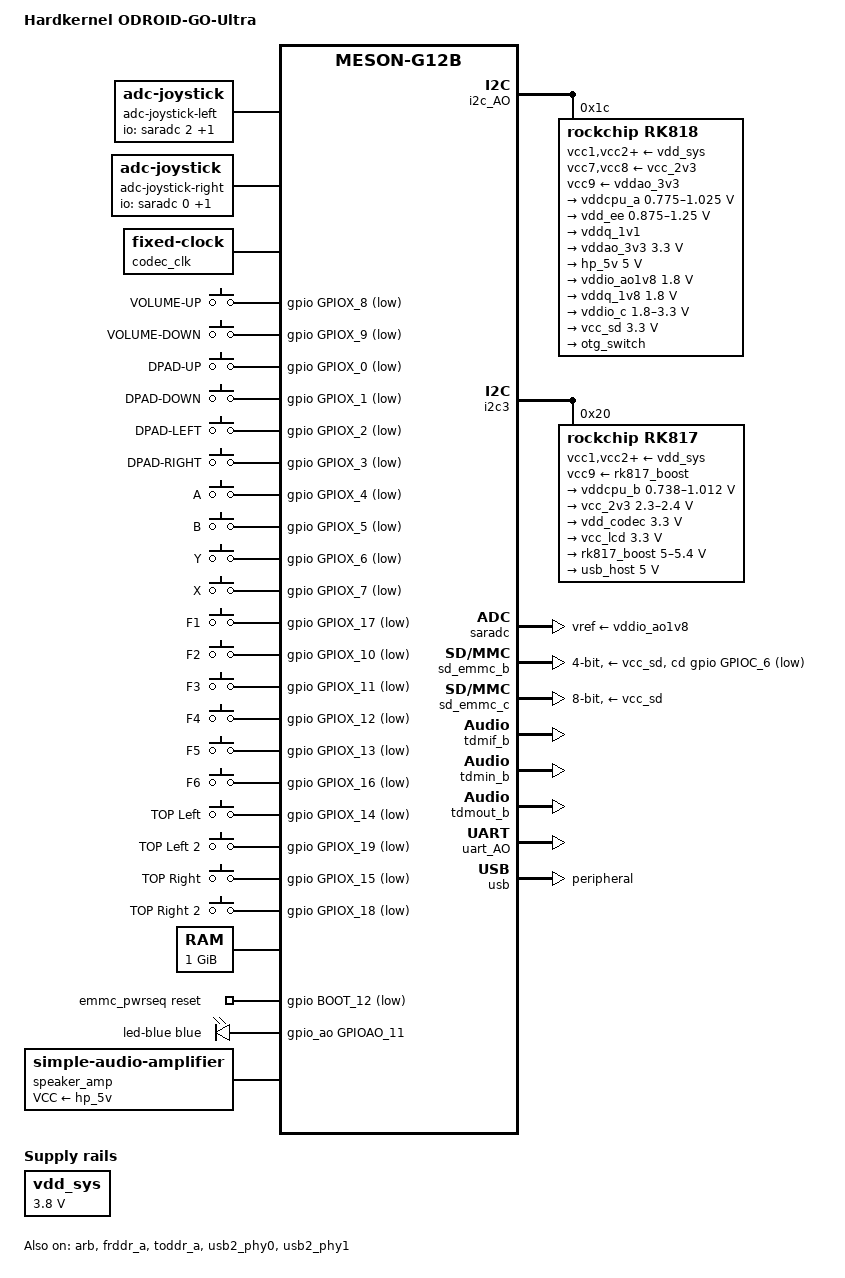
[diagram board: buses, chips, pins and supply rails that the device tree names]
// SPDX-License-Identifier: (GPL-2.0+ OR MIT)
/*
 * Copyright (c) 2022 Neil Armstrong <neil.armstrong@linaro.org>
 */

/dts-v1/;

#include "meson-g12b-s922x.dtsi"
#include <dt-bindings/input/input.h>
#include <dt-bindings/leds/common.h>
#include <dt-bindings/gpio/meson-g12a-gpio.h>
#include <dt-bindings/sound/meson-g12a-toacodec.h>
#include <dt-bindings/sound/meson-g12a-tohdmitx.h>

/ {
	compatible = "hardkernel,odroid-go-ultra", "amlogic,s922x", "amlogic,g12b";
	model = "Hardkernel ODROID-GO-Ultra";

	aliases {
		serial0 = &uart_AO;
		rtc0 = &vrtc;
	};

	adc-joystick-left {
		compatible = "adc-joystick";
		io-channels = <&saradc 2>, <&saradc 3>;
		poll-interval = <10>;
		#address-cells = <1>;
		#size-cells = <0>;

		axis@0 {
			reg = <0>;
			linux,code = <ABS_Y>;
			abs-range = <3150 950>;
			abs-fuzz = <32>;
			abs-flat = <64>;
		};
		axis@1 {
			reg = <1>;
			linux,code = <ABS_X>;
			abs-range = <700 2900>;
			abs-fuzz = <32>;
			abs-flat = <64>;
		};
	};

	adc-joystick-right {
		compatible = "adc-joystick";
		io-channels = <&saradc 0>, <&saradc 1>;
		poll-interval = <10>;
		#address-cells = <1>;
		#size-cells = <0>;

		axis@0 {
			reg = <0>;
			linux,code = <ABS_RY>;
			abs-range = <3150 950>;
			abs-fuzz = <32>;
			abs-flat = <64>;
		};
		axis@1 {
			reg = <1>;
			linux,code = <ABS_RX>;
			abs-range = <800 3000>;
			abs-fuzz = <32>;
			abs-flat = <64>;
		};
	};

	chosen {
		stdout-path = "serial0:115200n8";
	};

	codec_clk: codec-clk {
		compatible = "fixed-clock";
		clock-frequency = <12288000>;
		clock-output-names = "codec_clk";
		#clock-cells = <0>;
	};

	gpio-keys {
		compatible = "gpio-keys-polled";
		poll-interval = <10>;
		pinctrl-0 = <&keypad_gpio_pins>;
		pinctrl-names = "default";

		volume-up-button {
			label = "VOLUME-UP";
			linux,code = <KEY_VOLUMEUP>;
			gpios = <&gpio GPIOX_8 GPIO_ACTIVE_LOW>;
		};
		volume-down-button {
			label = "VOLUME-DOWN";
			linux,code = <KEY_VOLUMEDOWN>;
			gpios = <&gpio GPIOX_9 GPIO_ACTIVE_LOW>;
		};
		dpad-up-button {
			label = "DPAD-UP";
			linux,code = <BTN_DPAD_UP>;
			gpios = <&gpio GPIOX_0 GPIO_ACTIVE_LOW>;
		};
		dpad-down-button {
			label = "DPAD-DOWN";
			linux,code = <BTN_DPAD_DOWN>;
			gpios = <&gpio GPIOX_1 GPIO_ACTIVE_LOW>;
		};
		dpad-left-button {
			label = "DPAD-LEFT";
			linux,code = <BTN_DPAD_LEFT>;
			gpios = <&gpio GPIOX_2 GPIO_ACTIVE_LOW>;
		};
		dpad-right-button {
			label = "DPAD-RIGHT";
			linux,code = <BTN_DPAD_RIGHT>;
			gpios = <&gpio GPIOX_3 GPIO_ACTIVE_LOW>;
		};
		a-button {
			label = "A";
			linux,code = <BTN_EAST>;
			gpios = <&gpio GPIOX_4 GPIO_ACTIVE_LOW>;
		};
		b-button {
			label = "B";
			linux,code = <BTN_SOUTH>;
			gpios = <&gpio GPIOX_5 GPIO_ACTIVE_LOW>;
		};
		y-button {
			label = "Y";
			linux,code = <BTN_WEST>;
			gpios = <&gpio GPIOX_6 GPIO_ACTIVE_LOW>;
		};
		x-button {
			label = "X";
			linux,code = <BTN_NORTH>;
			gpios = <&gpio GPIOX_7 GPIO_ACTIVE_LOW>;
		};
		f1-button {
			label = "F1";
			linux,code = <BTN_TRIGGER_HAPPY1>;
			gpios = <&gpio GPIOX_17 GPIO_ACTIVE_LOW>;
		};
		f2-button {
			label = "F2";
			linux,code = <BTN_TRIGGER_HAPPY2>;
			gpios = <&gpio GPIOX_10 GPIO_ACTIVE_LOW>;
		};
		f3-button {
			label = "F3";
			linux,code = <BTN_TRIGGER_HAPPY3>;
			gpios = <&gpio GPIOX_11 GPIO_ACTIVE_LOW>;
		};
		f4-button {
			label = "F4";
			linux,code = <BTN_TRIGGER_HAPPY4>;
			gpios = <&gpio GPIOX_12 GPIO_ACTIVE_LOW>;
		};
		f5-button {
			label = "F5";
			linux,code = <BTN_TRIGGER_HAPPY5>;
			gpios = <&gpio GPIOX_13 GPIO_ACTIVE_LOW>;
		};
		f6-button {
			label = "F6";
			linux,code = <BTN_TRIGGER_HAPPY6>;
			gpios = <&gpio GPIOX_16 GPIO_ACTIVE_LOW>;
		};
		top-left-button {
			label = "TOP Left";
			linux,code = <BTN_TL>;
			gpios = <&gpio GPIOX_14 GPIO_ACTIVE_LOW>;
		};
		top-left2-button {
			label = "TOP Left 2";
			linux,code = <BTN_TL2>;
			gpios = <&gpio GPIOX_19 GPIO_ACTIVE_LOW>;
		};
		top-right-button {
			label = "TOP Right";
			linux,code = <BTN_TR>;
			gpios = <&gpio GPIOX_15 GPIO_ACTIVE_LOW>;
		};
		top-right2-button {
			label = "TOP Right 2";
			linux,code = <BTN_TR2>;
			gpios = <&gpio GPIOX_18 GPIO_ACTIVE_LOW>;
		};
	};

	memory@0 {
		device_type = "memory";
		reg = <0x0 0x0 0x0 0x40000000>;
	};

	emmc_pwrseq: emmc-pwrseq {
		compatible = "mmc-pwrseq-emmc";
		reset-gpios = <&gpio BOOT_12 GPIO_ACTIVE_LOW>;
	};

	leds {
		compatible = "gpio-leds";

		led-blue {
			color = <LED_COLOR_ID_BLUE>;
			gpios = <&gpio_ao GPIOAO_11 GPIO_ACTIVE_HIGH>;
			linux,default-trigger = "heartbeat";
		};
	};

	vdd_sys: regulator-vdd-sys {
		compatible = "regulator-fixed";
		regulator-name = "VDD_SYS";
		regulator-min-microvolt = <3800000>;
		regulator-max-microvolt = <3800000>;
		regulator-always-on;
	};

	sound {
		compatible = "amlogic,axg-sound-card";
		model = "Odroid GO Ultra";
		audio-widgets = "Microphone", "Mic Jack",
				"Headphone", "Headphones",
				"Speaker", "Internal Speakers";
		audio-aux-devs = <&tdmout_b>, <&tdmin_b>, <&speaker_amp>;
		audio-routing =	"TDMOUT_B IN 0", "FRDDR_A OUT 1",
				"TDM_B Playback", "TDMOUT_B OUT",
				"TDMIN_B IN 1", "TDM_B Capture",
				"TDMIN_B IN 4", "TDM_B Loopback",
				"TODDR_A IN 1", "TDMIN_B OUT",
				"MICL", "Mic Jack",
				"Headphones", "HPOL",
				"Headphones", "HPOR",
				"Speaker Amplifier INL", "HPOL",
				"Speaker Amplifier INR", "HPOR",
				"Internal Speakers", "Speaker Amplifier OUTL",
				"Internal Speakers", "Speaker Amplifier OUTR";

		assigned-clocks = <&clkc CLKID_MPLL2>,
				  <&clkc CLKID_MPLL0>,
				  <&clkc CLKID_MPLL1>;
		assigned-clock-parents = <0>, <0>, <0>;
		assigned-clock-rates = <294912000>,
				       <270950400>,
				       <393216000>;

		dai-link-0 {
			sound-dai = <&frddr_a>;
		};

		dai-link-1 {
			sound-dai = <&toddr_a>;
		};

		dai-link-2 {
			sound-dai = <&tdmif_b>;
			dai-format = "i2s";
			dai-tdm-slot-tx-mask-0 = <1 1>;
			mclk-fs = <256>;

			codec-0 {
				sound-dai = <&rk817>;
			};
		};
	};

	speaker_amp: speaker-amplifier {
		compatible = "simple-audio-amplifier";
		sound-name-prefix = "Speaker Amplifier";
		VCC-supply = <&hp_5v>;
	};
};

&arb {
	status = "okay";
};

&cpu0 {
	cpu-supply = <&vddcpu_b>;
	operating-points-v2 = <&cpu_opp_table_0>;
	clocks = <&clkc CLKID_CPU_CLK>;
	clock-latency = <50000>;
};

&cpu1 {
	cpu-supply = <&vddcpu_b>;
	operating-points-v2 = <&cpu_opp_table_0>;
	clocks = <&clkc CLKID_CPU_CLK>;
	clock-latency = <50000>;
};

&cpu100 {
	cpu-supply = <&vddcpu_a>;
	operating-points-v2 = <&cpub_opp_table_1>;
	clocks = <&clkc CLKID_CPUB_CLK>;
	clock-latency = <50000>;
};

&cpu101 {
	cpu-supply = <&vddcpu_a>;
	operating-points-v2 = <&cpub_opp_table_1>;
	clocks = <&clkc CLKID_CPUB_CLK>;
	clock-latency = <50000>;
};

&cpu102 {
	cpu-supply = <&vddcpu_a>;
	operating-points-v2 = <&cpub_opp_table_1>;
	clocks = <&clkc CLKID_CPUB_CLK>;
	clock-latency = <50000>;
};

&cpu103 {
	cpu-supply = <&vddcpu_a>;
	operating-points-v2 = <&cpub_opp_table_1>;
	clocks = <&clkc CLKID_CPUB_CLK>;
	clock-latency = <50000>;
};

/* RK817 only supports 12.5mV steps, round up the values */
&cpu_opp_table_0 {
	opp-1000000000 {
		opp-microvolt = <737500>;
	};
	opp-1200000000 {
		opp-microvolt = <737500>;
	};
	opp-1398000000 {
		opp-microvolt = <762500>;
	};
	opp-1512000000 {
		opp-microvolt = <800000>;
	};
	opp-1608000000 {
		opp-microvolt = <837500>;
	};
	opp-1704000000 {
		opp-microvolt = <862500>;
	};
	opp-1896000000 {
		opp-microvolt = <987500>;
	};
	opp-1992000000 {
		opp-microvolt = <1012500>;
	};
};

/* RK818 only supports 12.5mV steps, round up the values */
&cpub_opp_table_1 {
	opp-1000000000 {
		opp-microvolt = <775000>;
	};
	opp-1200000000 {
		opp-microvolt = <775000>;
	};
	opp-1398000000 {
		opp-microvolt = <800000>;
	};
	opp-1512000000 {
		opp-microvolt = <825000>;
	};
	opp-1608000000 {
		opp-microvolt = <862500>;
	};
	opp-1704000000 {
		opp-microvolt = <900000>;
	};
	opp-1800000000 {
		opp-microvolt = <987500>;
	};
	opp-1908000000 {
		opp-microvolt = <1025000>;
	};
};

&i2c_AO {
	status = "okay";
	pinctrl-0 = <&i2c_ao_sck_pins>, <&i2c_ao_sda_pins>;
	pinctrl-names = "default";

	rk818: pmic@1c {
		compatible = "rockchip,rk818";
		reg = <0x1c>;
		interrupt-parent = <&gpio_intc>;
		interrupts = <7 IRQ_TYPE_LEVEL_LOW>; /* GPIOAO_7 */
		#clock-cells = <1>;

		vcc1-supply = <&vdd_sys>;
		vcc2-supply = <&vdd_sys>;
		vcc3-supply = <&vdd_sys>;
		vcc4-supply = <&vdd_sys>;
		vcc6-supply = <&vdd_sys>;
		vcc7-supply = <&vcc_2v3>;
		vcc8-supply = <&vcc_2v3>;
		vcc9-supply = <&vddao_3v3>;
		boost-supply = <&vdd_sys>;

		regulators {
			vddcpu_a: DCDC_REG1 {
				regulator-name = "vddcpu_a";
				regulator-always-on;
				regulator-boot-on;
				regulator-min-microvolt = <775000>;
				regulator-max-microvolt = <1025000>;
				regulator-ramp-delay = <6001>;
				regulator-state-mem {
					regulator-on-in-suspend;
					regulator-suspend-microvolt = <775000>;
				};
			};

			vdd_ee: DCDC_REG2 {
				regulator-name = "vdd_ee";
				regulator-always-on;
				regulator-boot-on;
				regulator-min-microvolt = <875000>;
				regulator-max-microvolt = <1250000>;
				regulator-ramp-delay = <6001>;
				regulator-state-mem {
					regulator-on-in-suspend;
					regulator-suspend-microvolt = <875000>;
				};
			};

			vddq_1v1: DCDC_REG3 {
				regulator-name = "vddq_1v1";
				regulator-always-on;
				regulator-boot-on;
				regulator-state-mem {
					regulator-on-in-suspend;
				};
			};

			vddao_3v3: DCDC_REG4 {
				regulator-always-on;
				regulator-boot-on;
				regulator-min-microvolt = <3300000>;
				regulator-max-microvolt = <3300000>;
				regulator-name = "vddao_3v3";
				regulator-state-mem {
					regulator-on-in-suspend;
					regulator-suspend-microvolt = <3300000>;
				};
			};

			hp_5v: DCDC_BOOST {
				regulator-always-on;
				regulator-boot-on;
				regulator-name = "hp_5v";
				regulator-min-microvolt = <5000000>;
				regulator-max-microvolt = <5000000>;
				regulator-state-mem {
					regulator-off-in-suspend;
				};
			};

			vddio_ao1v8: LDO_REG5 {
				regulator-always-on;
				regulator-boot-on;
				regulator-min-microvolt = <1800000>;
				regulator-max-microvolt = <1800000>;
				regulator-name = "vddio_ao1v8";
				regulator-state-mem {
					regulator-on-in-suspend;
					regulator-suspend-microvolt = <1800000>;
				};
			};

			vddq_1v8: LDO_REG7 {
				regulator-always-on;
				regulator-boot-on;
				regulator-min-microvolt = <1800000>;
				regulator-max-microvolt = <1800000>;
				regulator-name = "vddq_1v8";
				regulator-state-mem {
					regulator-on-in-suspend;
					regulator-suspend-microvolt = <1800000>;
				};
			};

			vddio_c: LDO_REG9 {
				regulator-always-on;
				regulator-boot-on;
				regulator-min-microvolt = <1800000>;
				regulator-max-microvolt = <3300000>;
				regulator-name = "vddio_c";
				regulator-state-mem {
					regulator-on-in-suspend;
					regulator-suspend-microvolt = <3300000>;
				};
			};

			vcc_sd: SWITCH_REG {
				regulator-name = "vcc_sd";
				regulator-always-on;
				regulator-boot-on;
				regulator-min-microvolt = <3300000>;
				regulator-max-microvolt = <3300000>;
				regulator-state-mem {
					regulator-on-in-suspend;
				};
			};

			OTG_SWITCH {
				regulator-name = "otg_switch";
				regulator-state-mem {
					regulator-off-in-suspend;
				};
			};
		};
	};
};

&i2c3 {
	status = "okay";
	pinctrl-0 = <&i2c3_sda_a_pins>, <&i2c3_sck_a_pins>;
	pinctrl-names = "default";

	rk817: pmic@20 {
		compatible = "rockchip,rk817";
		reg = <0x20>;
		interrupt-parent = <&gpio_intc>;

		interrupts = <5 IRQ_TYPE_LEVEL_LOW>; /* GPIOAO_5 */

		vcc1-supply = <&vdd_sys>;
		vcc2-supply = <&vdd_sys>;
		vcc3-supply = <&vdd_sys>;
		vcc4-supply = <&vdd_sys>;
		vcc5-supply = <&vdd_sys>;
		vcc6-supply = <&vdd_sys>;
		vcc7-supply = <&vdd_sys>;
		vcc8-supply = <&vdd_sys>;
		vcc9-supply = <&rk817_boost>;

		#sound-dai-cells = <0>;
		clocks = <&codec_clk>;
		clock-names = "mclk";

		#clock-cells = <1>;

		regulators {
			vddcpu_b: DCDC_REG2 {
				regulator-always-on;
				regulator-boot-on;
				regulator-min-microvolt = <737500>;
				regulator-max-microvolt = <1012500>;
				regulator-ramp-delay = <6001>;
				regulator-initial-mode = <0x2>;
				regulator-name = "vddcpu_b";
				regulator-state-mem {
					regulator-on-in-suspend;
					regulator-suspend-microvolt = <1000000>;
				};
			};

			vcc_2v3: DCDC_REG3 {
				regulator-always-on;
				regulator-boot-on;
				regulator-min-microvolt = <2300000>;
				regulator-max-microvolt = <2400000>;
				regulator-initial-mode = <0x2>;
				regulator-name = "vcc_2v3";
				regulator-state-mem {
					regulator-on-in-suspend;
				};
			};

			LDO_REG4 {
				regulator-always-on;
				regulator-boot-on;
				regulator-min-microvolt = <3300000>;
				regulator-max-microvolt = <3300000>;
				regulator-name = "vdd_codec";
				regulator-state-mem {
					regulator-off-in-suspend;
				};
			};

			vcc_lcd: LDO_REG8 {
				regulator-min-microvolt = <3300000>;
				regulator-max-microvolt = <3300000>;
				regulator-name = "vcc_lcd";
				regulator-state-mem {
					regulator-off-in-suspend;
				};
			};

			rk817_boost: BOOST {
				regulator-always-on;
				regulator-boot-on;
				regulator-min-microvolt = <5000000>;
				regulator-max-microvolt = <5400000>;
				regulator-name = "rk817_boost";
				regulator-state-mem {
					regulator-off-in-suspend;
				};
			};

			usb_host: OTG_SWITCH {
				regulator-name = "usb_host";
				regulator-min-microvolt = <5000000>;
				regulator-max-microvolt = <5000000>;
				regulator-state-mem {
					regulator-off-in-suspend;
				};
			};
		};
	};
};

&clkc_audio {
	status = "okay";
};

&eth_phy {
	status = "disabled";
};

&frddr_a {
	status = "okay";
};

&periphs_pinctrl {
	keypad_gpio_pins: keypad-gpio-state {
		mux {
			groups = "GPIOX_0", "GPIOX_1", "GPIOX_2", "GPIOX_3",
			         "GPIOX_4", "GPIOX_5", "GPIOX_6", "GPIOX_7",
				 "GPIOX_8", "GPIOX_9", "GPIOX_10", "GPIOX_11",
				 "GPIOX_12", "GPIOX_13", "GPIOX_14",  "GPIOX_15",
				 "GPIOX_16", "GPIOX_17", "GPIOX_18",  "GPIOX_19";
			function = "gpio_periphs";
			bias-pull-up;
			output-disable;
		};
	};
};

&saradc {
	status = "okay";
	vref-supply = <&vddio_ao1v8>;
};

/* SD card */
&sd_emmc_b {
	status = "okay";
	pinctrl-0 = <&sdcard_c_pins>;
	pinctrl-1 = <&sdcard_clk_gate_c_pins>;
	pinctrl-names = "default", "clk-gate";

	bus-width = <4>;
	cap-sd-highspeed;
	max-frequency = <50000000>;
	disable-wp;

	cd-gpios = <&gpio GPIOC_6 GPIO_ACTIVE_LOW>;
	vmmc-supply = <&vcc_sd>;
	vqmmc-supply = <&vddio_c>;

};

/* eMMC */
&sd_emmc_c {
	status = "okay";
	pinctrl-0 = <&emmc_ctrl_pins>, <&emmc_data_8b_pins>, <&emmc_ds_pins>;
	pinctrl-1 = <&emmc_clk_gate_pins>;
	pinctrl-names = "default", "clk-gate";

	bus-width = <8>;
	cap-mmc-highspeed;
	mmc-ddr-1_8v;
	mmc-hs200-1_8v;
	max-frequency = <200000000>;
	disable-wp;

	mmc-pwrseq = <&emmc_pwrseq>;
	vmmc-supply = <&vcc_sd>;
	vqmmc-supply = <&vddio_ao1v8>;
};


&tdmif_b {
	pinctrl-0 = <&tdm_b_dout0_pins>, <&tdm_b_fs_pins>, <&tdm_b_sclk_pins>, <&tdm_b_din1_pins>;
	pinctrl-names = "default";
	status = "okay";

	assigned-clocks = <&clkc_audio AUD_CLKID_TDM_SCLK_PAD1>,
			  <&clkc_audio AUD_CLKID_TDM_LRCLK_PAD1>;
	assigned-clock-parents = <&clkc_audio AUD_CLKID_MST_B_SCLK>,
				 <&clkc_audio AUD_CLKID_MST_B_LRCLK>;
	assigned-clock-rates = <0>, <0>;
};

&tdmin_b {
	status = "okay";
};

&tdmout_b {
	status = "okay";
};

&toddr_a {
	status = "okay";
};

&uart_AO {
	status = "okay";
	pinctrl-0 = <&uart_ao_a_pins>;
	pinctrl-names = "default";
};

&usb {
	status = "okay";
	dr_mode = "peripheral";
};

&usb2_phy0 {
	status = "okay";
};

&usb2_phy1 {
	status = "okay";
	phy-supply = <&usb_host>;
};
